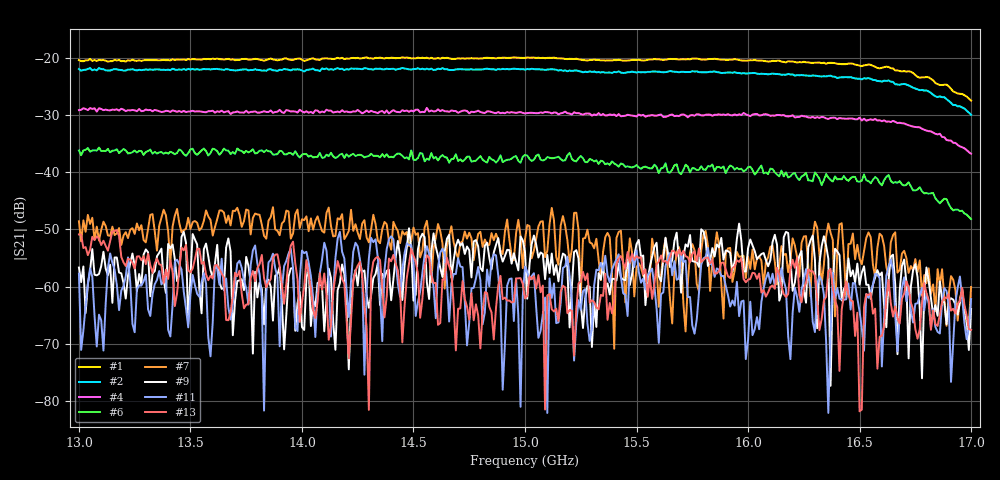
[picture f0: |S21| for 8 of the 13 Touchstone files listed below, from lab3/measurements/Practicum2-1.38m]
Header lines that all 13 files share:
!Keysight Technologies,P9374A,MY57211807,A.19.30.04
!Correction: S11(C  2-Port  )
!S21(C  2-Port  )
!S12(C  2-Port  )
!S22(C  2-Port  )
!S2P File: Measurements: S11, S21, S12, S22:
# Hz S  RI  R 50
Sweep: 13 GHz to 17 GHz
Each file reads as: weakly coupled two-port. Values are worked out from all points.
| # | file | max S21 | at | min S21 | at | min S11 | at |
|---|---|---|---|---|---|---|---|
| 1 | 10.s2p | -19.95 dB | 14.95 GHz | -27.5 dB | 17 GHz | -40.7 dB | 15.58 GHz |
| 2 | 12.s2p | -21.82 dB | 14.45 GHz | -30.0 dB | 17 GHz | -54.7 dB | 15.57 GHz |
| 3 | 14.s2p | -24.14 dB | 13.09 GHz | -33.0 dB | 17 GHz | -40.6 dB | 15.56 GHz |
| 4 | 18.s2p | -28.79 dB | 14.56 GHz | -36.8 dB | 17 GHz | -53.1 dB | 15.63 GHz |
| 5 | 26.s2p | -34.35 dB | 13.6 GHz | -44.9 dB | 17 GHz | -42.7 dB | 15.58 GHz |
| 6 | 28.s2p | -35.72 dB | 13.09 GHz | -48.2 dB | 17 GHz | -52.0 dB | 15.56 GHz |
| 7 | 46.s2p | -46.13 dB | 13.87 GHz | -70.9 dB | 15.4 GHz | -46.7 dB | 15.64 GHz |
| 8 | 54.s2p | -46.52 dB | 15.77 GHz | -80.6 dB | 15.17 GHz | -40.5 dB | 15.57 GHz |
| 9 | 56.s2p | -48.99 dB | 15.96 GHz | -77.3 dB | 16.37 GHz | -54.0 dB | 15.62 GHz |
| 10 | 70.s2p | -48.76 dB | 13.78 GHz | -83.0 dB | 14.89 GHz | -64.8 dB | 15.6 GHz |
| 11 | 72.s2p | -50.44 dB | 14.17 GHz | -82.1 dB | 15.1 GHz | -47.6 dB | 15.62 GHz |
| 12 | 80.s2p | -54.18 dB | 14.75 GHz | -88.6 dB | 16.82 GHz | -55.1 dB | 15.62 GHz |
| 13 | 90.s2p | -50.13 dB | 13.17 GHz | -81.8 dB | 16.5 GHz | -48.6 dB | 15.64 GHz |
